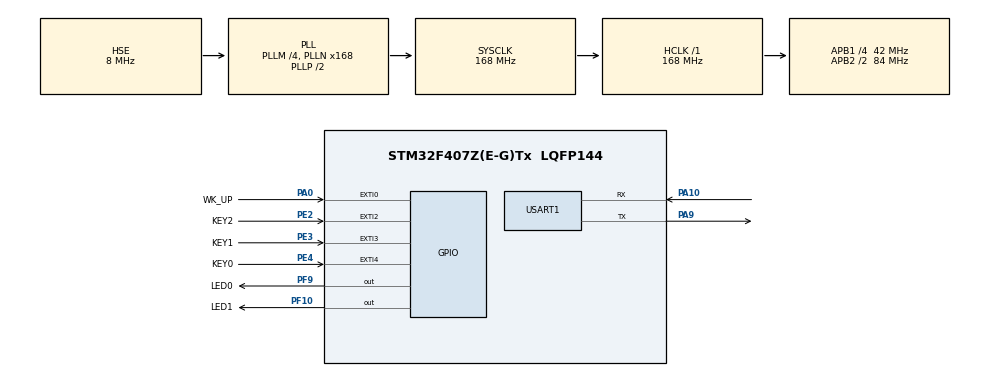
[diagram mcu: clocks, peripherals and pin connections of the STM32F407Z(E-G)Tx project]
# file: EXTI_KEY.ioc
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Mcu.Family=STM32F4
Mcu.Name=STM32F407Z(E-G)Tx
Mcu.Package=LQFP144
NVIC.EXTI0_IRQn=true\:0\:0\:true\:false\:true\:true\:true
NVIC.EXTI2_IRQn=true\:0\:0\:true\:false\:true\:true\:true
NVIC.EXTI3_IRQn=true\:0\:0\:true\:false\:true\:true\:true
NVIC.EXTI4_IRQn=true\:0\:0\:true\:false\:true\:true\:true
NVIC.PriorityGroup=NVIC_PRIORITYGROUP_4
PA0-WKUP.GPIO_Label=WK_UP
PA0-WKUP.GPIO_PuPd=GPIO_PULLDOWN
PA0-WKUP.Signal=GPXTI0
PA10.Mode=Asynchronous
PA10.Signal=USART1_RX
PA13.Mode=Serial_Wire
PA13.Signal=SYS_JTMS-SWDIO
PA14.Mode=Serial_Wire
PA14.Signal=SYS_JTCK-SWCLK
PA9.Mode=Asynchronous
PA9.Signal=USART1_TX
PE2.GPIO_Label=KEY2
PE2.GPIO_ModeDefaultEXTI=GPIO_MODE_IT_FALLING
PE2.GPIO_PuPd=GPIO_PULLUP
PE2.Signal=GPXTI2
PE3.GPIO_Label=KEY1
PE3.GPIO_ModeDefaultEXTI=GPIO_MODE_IT_FALLING
PE3.GPIO_PuPd=GPIO_PULLUP
PE3.Signal=GPXTI3
PE4.GPIO_Label=KEY0
PE4.GPIO_ModeDefaultEXTI=GPIO_MODE_IT_FALLING
PE4.GPIO_PuPd=GPIO_PULLUP
PE4.Signal=GPXTI4
PF10.GPIO_Label=LED1
PF10.PinState=GPIO_PIN_SET
PF10.Signal=GPIO_Output
PF9.GPIO_Label=LED0
PF9.PinState=GPIO_PIN_SET
PF9.Signal=GPIO_Output
PH0-OSC_IN.Mode=HSE-External-Oscillator
PH0-OSC_IN.Signal=RCC_OSC_IN
PH1-OSC_OUT.Mode=HSE-External-Oscillator
PH1-OSC_OUT.Signal=RCC_OSC_OUT
ProjectManager.HeapSize=0x200
ProjectManager.StackSize=0x400
ProjectManager.TargetToolchain=SW4STM32
RCC.48MHZClocksFreq_Value=84000000
RCC.AHBFreq_Value=168000000
RCC.APB1CLKDivider=RCC_HCLK_DIV4
RCC.APB1Freq_Value=42000000
RCC.APB1TimFreq_Value=84000000
RCC.APB2CLKDivider=RCC_HCLK_DIV2
RCC.APB2Freq_Value=84000000
RCC.APB2TimFreq_Value=168000000
RCC.CortexFreq_Value=168000000
RCC.HCLKFreq_Value=168000000
RCC.HSE_VALUE=8000000
RCC.HSI_VALUE=16000000
RCC.LSE_VALUE=32768
RCC.PLLM=4
RCC.PLLN=168
RCC.PLLSourceVirtual=RCC_PLLSOURCE_HSE
RCC.SYSCLKFreq_VALUE=168000000
RCC.SYSCLKSource=RCC_SYSCLKSOURCE_PLLCLK
RCC.VCOOutputFreq_Value=336000000
USART1.VirtualMode=VM_ASYNC
board=custom

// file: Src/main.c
/* USER CODE BEGIN Header */
/**
  ******************************************************************************
  * @file           : main.c
  * @brief          : Main program body
  ******************************************************************************
  * @attention
  *
  * <h2><center>&copy; Copyright (c) 2020 STMicroelectronics.
  * All rights reserved.</center></h2>
  *
  * This software component is licensed by ST under BSD 3-Clause license,
  * the "License"; You may not use this file except in compliance with the
  * License. You may obtain a copy of the License at:
  *                        opensource.org/licenses/BSD-3-Clause
  *
  ******************************************************************************
  */
/* USER CODE END Header */

#include "main.h"
#include "usart.h"
#include "gpio.h"

/* USER CODE BEGIN Includes */
#include <stdio.h>
#include "retarget.h"
/* USER CODE END Includes */

/* USER CODE BEGIN PD */
#define KEY0        HAL_GPIO_ReadPin(KEY0_GPIO_Port,KEY0_Pin)
#define KEY1        HAL_GPIO_ReadPin(KEY1_GPIO_Port,KEY1_Pin)
#define KEY2        HAL_GPIO_ReadPin(KEY2_GPIO_Port,KEY2_Pin)
#define WK_UP       HAL_GPIO_ReadPin(WK_UP_GPIO_Port,WK_UP_Pin)
#define LED1_High   HAL_GPIO_WritePin(LED1_GPIO_Port,LED1_Pin,GPIO_PIN_SET)
#define LED1_Low    HAL_GPIO_WritePin(LED1_GPIO_Port,LED1_Pin,GPIO_PIN_RESET)
/* USER CODE END PD */

void SystemClock_Config(void);

/* USER CODE BEGIN 0 */

void HAL_GPIO_EXTI_Callback(uint16_t GPIO_Pin)
{
    /* Prevent unused argument(s) compilation warning */
    UNUSED(GPIO_Pin);
    /* NOTE: This function Should not be modified, when the callback is needed,
             the HAL_GPIO_EXTI_Callback could be implemented in the user file
     */

    //加延时消抖，但不能加HAL_Delay
    switch(GPIO_Pin)
    {
        case WK_UP_Pin:
            if(WK_UP==1)
            {
                LED1_High;
                printf("1");
                HAL_GPIO_EXTI_IRQHandler(WK_UP_Pin);
            }
            break;
        case KEY2_Pin:
            if(KEY2==0)
            {
                LED1_Low;
                printf("2");
                HAL_GPIO_EXTI_IRQHandler(KEY2_Pin);
            }
            break;
        case KEY1_Pin:
            if(KEY1==0)
            {
                LED1_Low;
                printf("3");
                HAL_GPIO_EXTI_IRQHandler(KEY1_Pin);
            }
            break;
        case KEY0_Pin:
            if(KEY0==0)
            {
                LED1_Low;
                printf("4");
                HAL_GPIO_EXTI_IRQHandler(KEY0_Pin);
            }
            break;
    }
}

/* USER CODE END 0 */

int main(void)
{

  /* MCU Configuration--------------------------------------------------------*/

  /* Reset of all peripherals, Initializes the Flash interface and the Systick. */
  HAL_Init();

  /* Configure the system clock */
  SystemClock_Config();

  /* Initialize all configured peripherals */
  MX_GPIO_Init();
  MX_USART1_UART_Init();
  /* USER CODE BEGIN 2 */
    RetargetInit(&huart1);
  /* USER CODE END 2 */

  /* Infinite loop */
  while (1)
  {

    /* USER CODE BEGIN 3 */
    HAL_GPIO_TogglePin(LED0_GPIO_Port, LED0_Pin);
    HAL_Delay(500);
  }
  /* USER CODE END 3 */
}

void SystemClock_Config(void)
{
  RCC_OscInitTypeDef RCC_OscInitStruct = {0};
  RCC_ClkInitTypeDef RCC_ClkInitStruct = {0};

  /** Configure the main internal regulator output voltage
  */
  __HAL_RCC_PWR_CLK_ENABLE();
  __HAL_PWR_VOLTAGESCALING_CONFIG(PWR_REGULATOR_VOLTAGE_SCALE1);
  /** Initializes the CPU, AHB and APB busses clocks
  */
  RCC_OscInitStruct.OscillatorType = RCC_OSCILLATORTYPE_HSE;
  RCC_OscInitStruct.HSEState = RCC_HSE_ON;
  RCC_OscInitStruct.PLL.PLLState = RCC_PLL_ON;
  RCC_OscInitStruct.PLL.PLLSource = RCC_PLLSOURCE_HSE;
  RCC_OscInitStruct.PLL.PLLM = 4;
  RCC_OscInitStruct.PLL.PLLN = 168;
  RCC_OscInitStruct.PLL.PLLP = RCC_PLLP_DIV2;
  RCC_OscInitStruct.PLL.PLLQ = 4;
  if (HAL_RCC_OscConfig(&RCC_OscInitStruct) != HAL_OK)
  {
    Error_Handler();
  }
  /** Initializes the CPU, AHB and APB busses clocks
  */
  RCC_ClkInitStruct.ClockType = RCC_CLOCKTYPE_HCLK|RCC_CLOCKTYPE_SYSCLK
                              |RCC_CLOCKTYPE_PCLK1|RCC_CLOCKTYPE_PCLK2;
  RCC_ClkInitStruct.SYSCLKSource = RCC_SYSCLKSOURCE_PLLCLK;
  RCC_ClkInitStruct.AHBCLKDivider = RCC_SYSCLK_DIV1;
  RCC_ClkInitStruct.APB1CLKDivider = RCC_HCLK_DIV4;
  RCC_ClkInitStruct.APB2CLKDivider = RCC_HCLK_DIV2;

  if (HAL_RCC_ClockConfig(&RCC_ClkInitStruct, FLASH_LATENCY_5) != HAL_OK)
  {
    Error_Handler();
  }
}

void Error_Handler(void)
{
}

/************************ (C) COPYRIGHT STMicroelectronics *****END OF FILE****/
